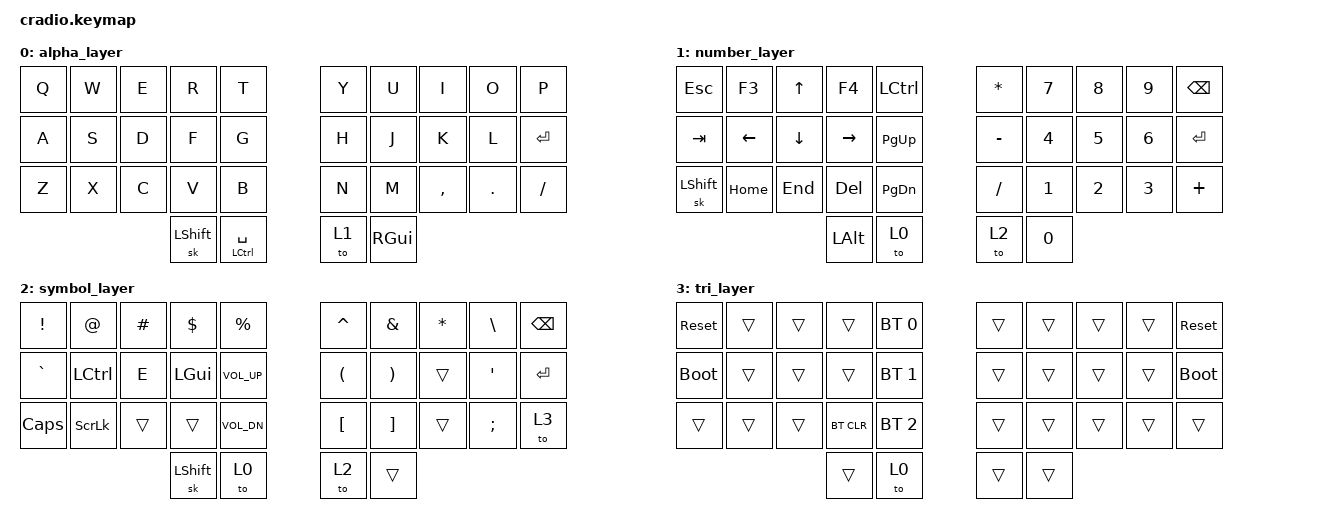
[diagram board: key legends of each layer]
// Copyright (c) 2022 The ZMK Contributors
// SPDX-License-Identifier: MIT

#include <behaviors.dtsi>
#include <dt-bindings/zmk/keys.h>
#include <dt-bindings/zmk/bt.h>

};

/ {
    behaviors {
        gqt: global-quick-tap {
             compatible = "zmk,behavior-hold-tap";
             label = "GLOBAL_QUICK_TAP";
             #binding-cells = <2>;
             flavor = "tap-preferred";
             tapping-term-ms = <200>;
             quick-tap-ms = <125>;
             global-quick-tap;
             bindings = <&kp>, <&kp>;
        };   
        ht: hold_tap {
            label = "hold_tap";
            compatible = "zmk,behavior-hold-tap";
            #binding-cells = <2>;
            flavor = "balanced";
            tapping-term-ms = <200>;
            quick-tap-ms = <150>;
            global-quick-tap;
            bindings = <&kp>, <&kp>;
        };
        td: tapdance {
            compatible = "zmk,behavior-hold-tap";
            label = "TAPDANCE";
            #binding-cells = <2>;
            tapping-term-ms = <150>;
            quick_tap_ms = <0>;
            flavor = "tap-preferred";
            bindings = <&kp>, <&kp>;
            };
    };
    

    keymap {
        compatible = "zmk,keymap";
        alpha_layer {
            bindings = <
        //╭──────────┬──────────┬──────────┬──────────┬──────────╮   ╭──────────┬──────────┬──────────┬──────────┬──────────╮
        //│  Q       │  W       │  E       │  R       │  T       │   │  Y       │  U       │  I       │  O       │  P       │
            &kp Q      &kp W      &kp E      &kp R      &kp T          &kp Y      &kp U      &kp I      &kp O      &kp P
        //├──────────┼──────────┼──────────┼──────────┼──────────┤   ├──────────┼──────────┼──────────┼──────────┼──────────┤
        //│  A       │  S       │  D       │  F       │  G       │   │  H       │  J       │  K       │  L       │ enter    │
            &kp A      &kp S       &kp D      &kp F     &kp G          &kp H      &kp J       &kp K     &kp L      &kp ENTER
        //├──────────┼──────────┼──────────┼──────────┼──────────┤   ├──────────┼──────────┼──────────┼──────────┼──────────┤
        //│  Z       │  X       │  C       │  V       │  B       │   │  N       │  M       │ , <      │ . >      │ / ?      │
            &kp Z      &kp X      &kp C      &kp V      &kp B          &kp N      &kp M      &kp COMMA  &kp DOT    &kp FSLH
        //╰──────────┴──────────┴──────────┼──────────┼──────────┤   ├──────────┼──────────┼──────────┴──────────┴──────────╯
                                            &sk LSHIFT &gqt LCTRL SPACE  &to 1    &kp RGUI   
        //                                 ╰──────────┴──────────╯   ╰──────────┴──────────╯
            >;
        };

        number_layer {
            bindings = <
        //╭──────────┬──────────┬──────────┬──────────┬──────────╮   ╭──────────┬──────────┬──────────┬──────────┬──────────╮
        //│ esc      │  F3      │  up      │  F4      │ lctrl    │   │ mult     │ 7        │ 8        │ 9        │ backspace│
            &kp ESC    &kp F3     &kp UP     &kp F4     &kp LCTRL      &kp STAR    &kp N7    &kp N8    &kp N9     &kp BSPC
        //├──────────┼──────────┼──────────┼──────────┼──────────┤   ├──────────┼──────────┼──────────┼──────────┼──────────┤
        //│ TAB      │  left    │  down    │  right   │ page up  │   │ -        │ 4        │ 5        │ 6        │  ENTER   │
            &kp TAB   &kp LEFT   &kp DOWN   &kp RIGHT  &kp PG_UP      &kp MINUS  &kp N4     &kp N5     &kp N6     &kp ENTER
        //├──────────┼──────────┼──────────┼──────────┼──────────┤   ├──────────┼──────────┼──────────┼──────────┼──────────┤
        //│ SHIFT    │  HOME    │  END     │  DEL     │ page down│   │    /     │ 1        │ 2        │ 3        │   +      │
           &sk LSHIFT  &kp HOME   &kp END    &kp DEL    &kp PG_DN      &kp FSLH  &kp N1     &kp N2     &kp N3    &kp PLUS
        //╰──────────┴──────────┴──────────┼──────────┼──────────┤   ├──────────┼──────────┼──────────┴──────────┴──────────╯
                                             &kp LALT   &to 0          &to 2      &kp N0     
        //                                 ╰──────────┴──────────╯   ╰──────────┴──────────╯
            >;
        };

        symbol_layer {
            bindings = <
        //╭──────────┬──────────┬──────────┬──────────┬──────────╮   ╭──────────┬──────────┬──────────┬──────────┬──────────╮
        //│  !       │  @       │ #        │ $        │  %       │   │  ^       │  &       │  *       │  \       │ BACKSPACE│
            &kp EXCL   &kp AT     &kp HASH   &kp DLLR   &kp PRCNT      &kp CARET &kp AMPS   &kp STAR    &kp BSLH   &kp BSPC
        //├──────────┼──────────┼──────────┼──────────┼──────────┤   ├──────────┼──────────┼──────────┼──────────┼──────────┤
        //│          │   ctrl   │    E     │    lgui  │ vol up   │   │   (      │   )      │          │    '     │  ENTER   │
            &kp GRAVE   &kp LCTRL  &kp E     &kp LGUI  &kp C_VOL_UP    &kp LPAR   &kp RPAR   &trans    &kp SQT     &kp ENTER
        //├──────────┼──────────┼──────────┼──────────┼──────────┤   ├──────────┼──────────┼──────────┼──────────┼──────────┤
        //│ caps lock│  scroll  │          │          │  vol down│   │  [       │  ]       │          │    ;      │          │
            &kp CAPS   &kp SLCK   &trans     &trans     &kp C_VOL_DN  &kp LBKT   &kp RBKT     &trans   &kp SEMI    &to 3
        //╰──────────┴──────────┴──────────┼──────────┼──────────┤   ├──────────┼──────────┼──────────┴──────────┴──────────╯
                                             &sk LSHIFT &to 0           &to 2      &trans     
        //                                 ╰──────────┴──────────╯   ╰──────────┴──────────╯
            >;
        };

        tri_layer {
            bindings = <
        //╭──────────┬──────────┬──────────┬──────────┬──────────╮   ╭──────────┬──────────┬──────────┬──────────┬──────────╮
        //│ RESET    │          │          │          │PROFILE 0 │   │          │          │          │          │  RESET   │
           &sys_reset  &trans     &trans     &trans    &bt BT_SEL 0    &trans     &trans     &trans     &trans    &sys_reset
        //├──────────┼──────────┼──────────┼──────────┼──────────┤   ├──────────┼──────────┼──────────┼──────────┼──────────┤
        //│BOOTLOADER│          │          │          │PROFILE 1 │   │          │          │          │          │BOOTLOADER│
          &bootloader  &trans     &trans     &trans    &bt BT_SEL 1    &trans     &trans     &trans     &trans    &bootloader
        //├──────────┼──────────┼──────────┼──────────┼──────────┤   ├──────────┼──────────┼──────────┼──────────┼──────────┤
        //│          │          │          │ CLEAR BT │PROFILE 2 │   │          │          │          │          │          │
            &trans     &trans     &trans    &bt BT_CLR &bt BT_SEL 2    &trans     &trans     &trans     &trans     &trans
        //╰──────────┴──────────┴──────────┼──────────┼──────────┤   ├──────────┼──────────┼──────────┴──────────┴──────────╯
                                             &trans     &to 0         &trans     &trans
        //                                 ╰──────────┴──────────╯   ╰──────────┴──────────╯
            >;
        };
    };
};
